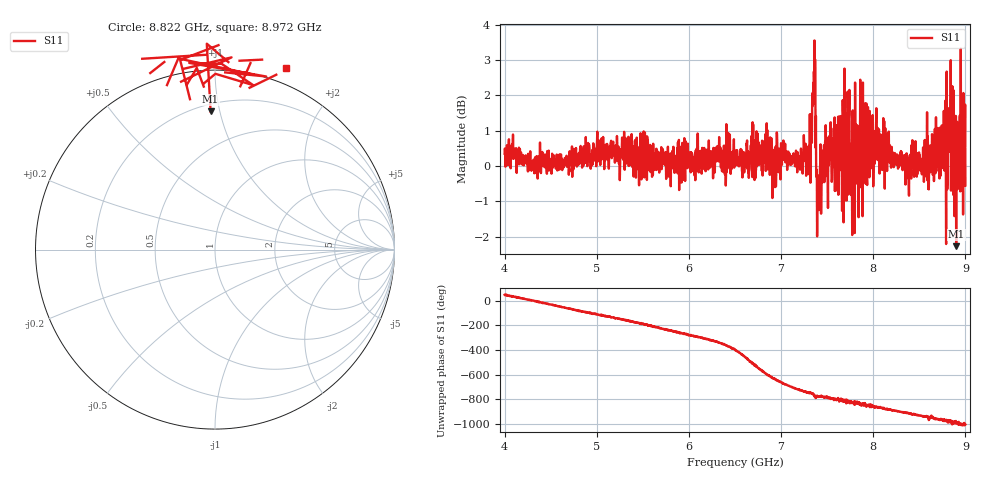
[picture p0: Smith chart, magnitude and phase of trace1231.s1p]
! Created with skrf 1.8.0 (http://scikit-rf.org).
# Hz S RI R 50.0
!freq ReS11 ImS11
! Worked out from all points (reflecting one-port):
!   1601 points, 4 GHz to 9 GHz, reference 50 ohm
!   lowest |S11| = -2.3 dB at 8.9 GHz (marker M1), VSWR 7.70, Z = 12.4 + j46.9 ohm
!   phase of S11 starts at 49 deg and turns -1052 deg over the sweep
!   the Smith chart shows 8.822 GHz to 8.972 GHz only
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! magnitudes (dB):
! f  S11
! 4 GHz  0.3
! 4.625 GHz  -0.1
! 5.25 GHz  -0.4
! 5.875 GHz  0.5
! 6.5 GHz  0.4
! 7.125 GHz  0.3
! 7.294 GHz  -0.2
! 7.347 GHz  1.8
! 7.362 GHz  3.6
! 7.397 GHz  -1.1
! 7.412 GHz  -1.2
! 7.466 GHz  0.6
! 7.609 GHz  1.2
! 7.669 GHz  1.9
! 7.697 GHz  -0.2
! 7.75 GHz  0.5
! 7.775 GHz  1.5
! 7.8 GHz  -1.9
! 7.859 GHz  2.4
! 7.928 GHz  1.0
! 8.097 GHz  -0.1
! 8.375 GHz  0.0
! 8.441 GHz  -0.3
! 8.622 GHz  0.0
! 8.834 GHz  1.1
! 8.9 GHz  -2.3
! 8.962 GHz  0.5
! 9 GHz  -0.5
